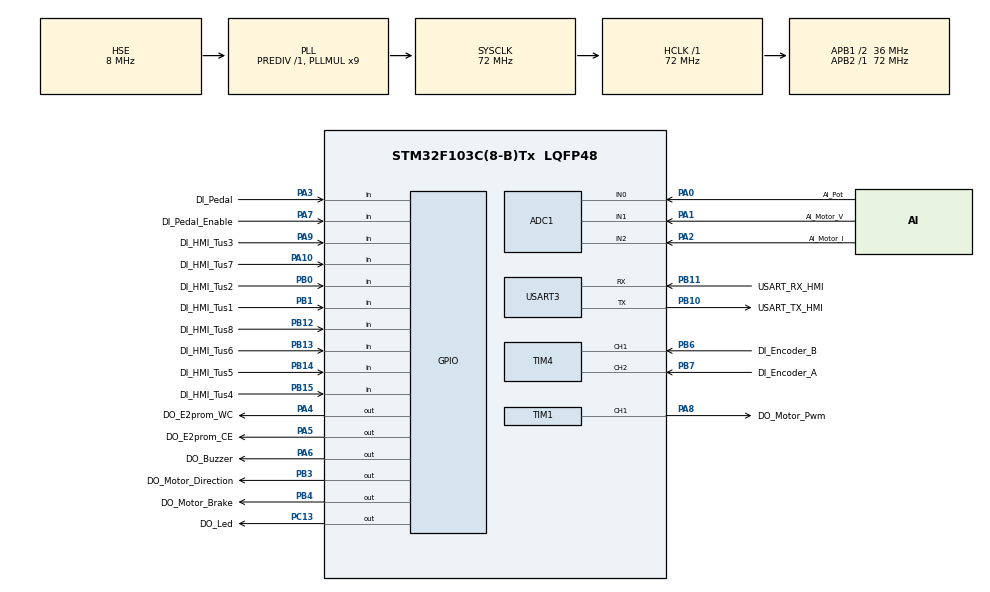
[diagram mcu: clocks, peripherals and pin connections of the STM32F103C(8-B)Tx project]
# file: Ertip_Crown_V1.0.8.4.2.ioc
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ADC1.Channel-6\#ChannelRegularConversion=ADC_CHANNEL_0
ADC1.Channel-7\#ChannelRegularConversion=ADC_CHANNEL_1
ADC1.Channel-8\#ChannelRegularConversion=ADC_CHANNEL_2
ADC1.ContinuousConvMode=ENABLE
ADC1.NbrOfConversion=3
ADC1.NbrOfConversionFlag=1
ADC1.Rank-6\#ChannelRegularConversion=1
ADC1.Rank-7\#ChannelRegularConversion=2
ADC1.Rank-8\#ChannelRegularConversion=3
ADC1.SamplingTime-6\#ChannelRegularConversion=ADC_SAMPLETIME_239CYCLES_5
ADC1.SamplingTime-7\#ChannelRegularConversion=ADC_SAMPLETIME_239CYCLES_5
ADC1.SamplingTime-8\#ChannelRegularConversion=ADC_SAMPLETIME_239CYCLES_5
ADC1.master=1
Dma.ADC1.0.Direction=DMA_PERIPH_TO_MEMORY
Dma.ADC1.0.Instance=DMA1_Channel1
Dma.ADC1.0.MemDataAlignment=DMA_MDATAALIGN_HALFWORD
Dma.ADC1.0.MemInc=DMA_MINC_ENABLE
Dma.ADC1.0.Mode=DMA_NORMAL
Dma.ADC1.0.PeriphDataAlignment=DMA_PDATAALIGN_HALFWORD
Dma.ADC1.0.PeriphInc=DMA_PINC_DISABLE
Dma.ADC1.0.Priority=DMA_PRIORITY_LOW
Dma.Request0=ADC1
Dma.Request1=USART3_RX
Dma.USART3_RX.1.Direction=DMA_PERIPH_TO_MEMORY
Dma.USART3_RX.1.Instance=DMA1_Channel3
Dma.USART3_RX.1.MemDataAlignment=DMA_MDATAALIGN_BYTE
Dma.USART3_RX.1.MemInc=DMA_MINC_ENABLE
Dma.USART3_RX.1.Mode=DMA_NORMAL
Dma.USART3_RX.1.PeriphDataAlignment=DMA_PDATAALIGN_BYTE
Dma.USART3_RX.1.PeriphInc=DMA_PINC_DISABLE
Dma.USART3_RX.1.Priority=DMA_PRIORITY_HIGH
Mcu.Family=STM32F1
Mcu.Name=STM32F103C(8-B)Tx
Mcu.Package=LQFP48
NVIC.DMA1_Channel1_IRQn=true\:10\:0\:true\:false\:true\:false\:true\:true
NVIC.DMA1_Channel3_IRQn=true\:0\:0\:false\:false\:true\:false\:true\:true
NVIC.PriorityGroup=NVIC_PRIORITYGROUP_4
NVIC.TIM2_IRQn=true\:0\:0\:false\:false\:true\:true\:true\:true
NVIC.USART3_IRQn=true\:0\:0\:false\:false\:true\:true\:true\:true
PA0-WKUP.GPIO_Label=AI_Pot
PA0-WKUP.Signal=ADCx_IN0
PA1.GPIO_Label=AI_Motor_V
PA1.Signal=ADCx_IN1
PA10.GPIO_Label=DI_HMI_Tus7
PA10.Signal=GPIO_Input
PA13.GPIO_Label=DIO_Debug_Serial_Wire
PA13.Mode=Serial_Wire
PA13.Signal=SYS_JTMS-SWDIO
PA14.GPIO_Label=CLK_Debug_Serial_Wire
PA14.Mode=Serial_Wire
PA14.Signal=SYS_JTCK-SWCLK
PA2.GPIO_Label=AI_Motor_I
PA2.Signal=ADCx_IN2
PA3.GPIO_Label=DI_Pedal
PA3.GPIO_PuPd=GPIO_PULLUP
PA3.Signal=GPIO_Input
PA4.GPIO_Label=DO_E2prom_WC
PA4.Signal=GPIO_Output
PA5.GPIO_Label=DO_E2prom_CE
PA5.Signal=GPIO_Output
PA6.GPIO_Label=DO_Buzzer
PA6.Signal=GPIO_Output
PA7.GPIO_Label=DI_Pedal_Enable
PA7.GPIO_PuPd=GPIO_PULLUP
PA7.Signal=GPIO_Input
PA8.GPIO_Label=DO_Motor_Pwm
PA8.Signal=S_TIM1_CH1
PA9.GPIO_Label=DI_HMI_Tus3
PA9.Signal=GPIO_Input
PB0.GPIO_Label=DI_HMI_Tus2
PB0.Signal=GPIO_Input
PB1.GPIO_Label=DI_HMI_Tus1
PB1.Signal=GPIO_Input
PB10.GPIO_Label=USART_TX_HMI
PB10.Mode=Asynchronous
PB10.Signal=USART3_TX
PB11.GPIO_Label=USART_RX_HMI
PB11.Mode=Asynchronous
PB11.Signal=USART3_RX
PB12.GPIO_Label=DI_HMI_Tus8
PB12.Signal=GPIO_Input
PB13.GPIO_Label=DI_HMI_Tus6
PB13.Signal=GPIO_Input
PB14.GPIO_Label=DI_HMI_Tus5
PB14.Signal=GPIO_Input
PB15.GPIO_Label=DI_HMI_Tus4
PB15.Signal=GPIO_Input
PB3.GPIO_Label=DO_Motor_Direction
PB3.Signal=GPIO_Output
PB4.GPIO_Label=DO_Motor_Brake
PB4.Signal=GPIO_Output
PB6.GPIO_Label=DI_Encoder_B
PB6.Signal=S_TIM4_CH1
PB7.GPIO_Label=DI_Encoder_A
PB7.Signal=S_TIM4_CH2
PB8.GPIO_Label=I2C_SCL_E2prom
PB8.Signal=I2C1_SCL
PB9.GPIO_Label=I2C_SDA_E2prom
PB9.Signal=I2C1_SDA
PC13-TAMPER-RTC.GPIO_Label=DO_Led
PC13-TAMPER-RTC.Signal=GPIO_Output
PD0-OSC_IN.Mode=HSE-External-Oscillator
PD0-OSC_IN.Signal=RCC_OSC_IN
PD1-OSC_OUT.Mode=HSE-External-Oscillator
PD1-OSC_OUT.Signal=RCC_OSC_OUT
ProjectManager.HeapSize=0x200
ProjectManager.StackSize=0x400
ProjectManager.TargetToolchain=STM32CubeIDE
RCC.ADCPresc=RCC_ADCPCLK2_DIV8
RCC.AHBFreq_Value=72000000
RCC.APB1CLKDivider=RCC_HCLK_DIV2
RCC.APB1Freq_Value=36000000
RCC.APB1TimFreq_Value=72000000
RCC.APB2Freq_Value=72000000
RCC.APB2TimFreq_Value=72000000
RCC.HCLKFreq_Value=72000000
RCC.PLLMUL=RCC_PLL_MUL9
RCC.PLLSourceVirtual=RCC_PLLSOURCE_HSE
RCC.SYSCLKFreq_VALUE=72000000
RCC.SYSCLKSource=RCC_SYSCLKSOURCE_PLLCLK
RCC.USBFreq_Value=72000000
SH.ADCx_IN0.0=ADC1_IN0,IN0
SH.ADCx_IN1.0=ADC1_IN1,IN1
SH.ADCx_IN2.0=ADC1_IN2,IN2
SH.S_TIM1_CH1.0=TIM1_CH1,PWM Generation1 CH1
SH.S_TIM4_CH1.0=TIM4_CH1,Encoder_Interface
SH.S_TIM4_CH2.0=TIM4_CH2,Encoder_Interface
TIM1.Channel-PWM\ Generation1\ CH1=TIM_CHANNEL_1
TIM1.OCPolarity_1=TIM_OCPOLARITY_LOW
TIM1.Period=2399
TIM2.AutoReloadPreload=TIM_AUTORELOAD_PRELOAD_ENABLE
TIM2.Period=4999
TIM2.Prescaler=71
TIM4.EncoderMode=TIM_ENCODERMODE_TI12
TIM4.IC1Polarity=TIM_ICPOLARITY_FALLING
USART3.VirtualMode=VM_ASYNC
VP_TIM2_VS_ClockSourceINT.Mode=Internal
board=custom

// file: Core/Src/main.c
/* USER CODE BEGIN Header */
/**
  ******************************************************************************
  * @file           : main.c
  * @brief          : Main program body
  ******************************************************************************
  * @attention
  *
  * Copyright (c) 2025 STMicroelectronics.
  * All rights reserved.
  *
  * This software is licensed under terms that can be found in the LICENSE file
  * in the root directory of this software component.
  * If no LICENSE file comes with this software, it is provided AS-IS.
  *
  ******************************************************************************
  */
/** 	BCD Teknik ARGE ve Robotik Otomasyon San. Tic. Ltd. Şti.
 	 	İstanbul, 2025

 	 	Bu kod ERTIP firmasının Crown V1.3 model kartı için üretilmiştir.
 	 	STM32F103C8T6 model MCU kullanılmıştır.

 	 	Tim4 Ch1 ve Ch2 combined modda enkoder okumak için kulanılmıştır.
 	 	Enkoder dönüş hızı (rpm), dönüş sayısı (distance_pulse) ve dönüş açısı (derece)
 	 	hesaplanmaktadır.

 	 	- Analog girişler DMA + SCAN MODE ile okunmuştur. Okunan değerlerin manipülasyonu (filtreleme vb.)
 	 	Callback dışında ayrı bir AdcUpdate() fonksiyonu içinde ve farklı interval de yapılmıştır.
 	 	- Callback çalışma frekansı yüksek olduğu için, data manipülasyonu Callback içinde yapıldığında,
 	 	işlemci tüm gücünü DMA Update e harcıyor ve uwTich dahil diğer fonksiyonlar çalışmıyor. Bu nedenle
 	 	hem ADC ranklarının Sampling Time değeri en büyük değer olan 239,5 cycle a çekildi, hem Clock Configuration
 	 	bölümünden ADC1 prescalar değeri en büyük değer olan /8 e ayarlandı (böylece DMA ölçüm frekansı düşürüldü),
 	 	hem de NVIC'ten DMA Interrupt priority si düşürüldü (değer olarak 10 a yükseltildi).
		- TIM1_CH1'den üretilen motor PWM değeri fonksiyonu ters çalışıyordu. Diğer bir ifadeyle __HAL_TIM_SET_COMPARE()
		fonksiyonuna girilen pwmValue değeri yükseldikçe motor devri düşüyordu. Bu sorunu pwmValue değerini max_pwm_periyot
		değerinden çıkararak çözülmüştü. Onun yerine CubeMX > Timers > TIM1 > Configuration > Channel1 içindeki CH polarity
		değerini low yaparak çözdük. Böylelikle her döngüde çıkarma işlemi yapmaktan kurtulduk.
		- main.c dosyası m_IO.c, m_MotorControl.c ve m_Filter.c olarak 3 modüle ayrıldı.
		-- m_IO.c de MCU giriş çıkışları ile ilgili temel fonksiyonlar yazıldı. Bunlar genel olarak DMA ile okunan ham ADC
		verilerinin (pot, motor voltage, motor current) işlenmesi, dijital girişlerin okunması, gijital çıkışların yazılması
		ve PWM üretilmesi olarak sınıflandırılabilir.
		-- m_MotorControl.c de genel olarak komum ve hız kontrol fonksiyonları yazıldı.
		-- m_Filter.c de okunan analog verilerin filtrelenmesi ve ölçeklendirilmesi ile ilgili fonksiyonlar yazıldı.
		- Hız referansı üreten PositionControl() fonksiyonu oluşturuldu. Konum kontrolünde standart Oransal (P) kontrol
		algoritması kullanıldı. Fonksiyon çıkışı hız doyum değerlerine göre (posSatLimitMax) sınırlandırıldı. Fonksiyona
		konum ileri besleme (ffPos) parametresi eklendi.
		- Motorun sürülmesi için gerekli PWM periyodu değerini üreten VelocityControl() fonksiyonu oluşturuldu. Hız kontrolünde
		standart Oransal-İntegral (PI) kontrol algoritması kullanıldı. İntegratör hesabına döngü peryotu (dTs) eklenerek
		Ki katsayısının döngü periyodu değişiminden etkilenmesi önlendi. Aynı zamanda integratöre geri-hesaplamalı antiwindup
		(Back Calculation AntiWindup - BCAW) algoritması eklenerek integral uçması sorunu önlendi. Fonksiyon çıkışı PWM duty cycle
		doyum değerlerine göre (velSatLimitMin, velSatLimitMax) sınırlandırıldı. Burada bahsedilen duty cycle limitleri fonksiyonun
		global olarak diğer uygulamalarla da uyumlu olabilmesi için 0.0f..1.0f aralığında olacak şekilde belirlendi.
		Böylelikle % duty cycle %0.0f..%100.0f aralığına ayarlanmış oldu. Bu düzenleme Kp ve Ki değerlerinin belirlenmesinde de etkili olacak.
		- BCAW interal uçması önleme algoritmasının etkiniğini düzenleyen kAntiWindup katsayısı döngü periyodu (dTs) ile ilişkilendirilerek
		katsayının döngü periyodu değişiminden etkilenmesi önlendi. kAntiWindup katsayısı belirlenirken genellikle ya Ki değerine ya da 1/dTs
		periyodu değerine eşitlenir.
		- Versiyon 1.0.5 ile birlikte değişken isimlendirmesi camel type'tan alt çizgili tipe dönüştürülmüştür.
		- VelocityControl() fonksiyonu içinde normalize edilmiş değerler kullanılmıştır. Böylelikle hız kontrolcü üniversal uyumlu hale getirilmiştir.
		- Versiyon 1.0.5.1 de kontrol döngüsü Timer 2 interrupt içinde yürütülmektedir. Bu yapıyı uygularken bazı sorunlar çıktı. En belirgin olanı referans
		potundan okunan değerlerde negatif anlamsız pikler oluşmaya başladı. Bunun interrupt çakışmasından kaynaklanabileceği belirtildi. Bu sorun ile uğraşmayı
		şimdilik bıraktım fakat ileride bakacağım.
		- Versiyon 1.0.6.1 de temel olarak seri haberleşmeyi de sisteme ekledim. VelocityControl() döngüsünü friction compansation ve deadband kontrolleri ile daha stabil
		hale getirdim. Belirli hız referansının altında motor hareket etmezken durduğu yerde ısınmasını önlemek için friction compansation etkisini koşulu hale getirdim.
		Böylece vel_ref belirli bir değerin altındaysa friction compansation kanıyor. PID ayarlarını düzelttim.PID kontrol kısmını normalize ettim. Önceleri Kp=15..20 civarı
		gezinirken şimdi Kp=1 civarı. Benzer şekilde Ki=20..30 civarı gezinirken şimdi Ki=0.1 civarında. TrajectoryGenerator() fonksiyonunu 2 farklı versiyon olarak
		yeniden düzenledim. Mutlak (absolute) hareket için TrajectoryGeneratorAbs() ve göreli (relative) hareket için TrajectoryGeneratorRel()oluşturdum.
		Versiyon 1.6.0 absolute olarak kaldı, artık relative'den devam ediyorum. Trajectory generator içerisine POS_DEADBAND ve VEL_DEADBAND parametreleri ekleyerek
		düşük hızlardki kararsız durumların önüne geçtim.
		- Versiyon 1.0.7'de temel olarak shared memory benzeri bir yapıya geçtim. Modüller arasında veri transferi için m_SharedMemory.c isminde yeni bir modül oluşturdum.
		Ayrıca Appconfig.h oluşturarak tüm #define ları içerisine attım. Böylelikl yazılımla ilgili tüm parametreler bir yerde toplanmış oldu. Fakat hız kontrol döngüsünde
		sorun yaşadım sorunun kaynağını bulamadım. Bu nedenle Velocitycontrol() fonksiyonunun stabil çalıştığı 1.5.1'e geri döndüm.
		- Versiyon 1.0.7.1'de 1.0.5.1'i temel aldım. Enkoder verisini doğru okuyabilen en güncel versiyonun bu olduğunu fark ettim.
		V1.0.7.1'i de yedek olarak tutarak V1.0.7.2'ye yükselttim. Bu versiyonda dikkatli olarak sırasıyla SharedMemory ve AppConfig
		yaklaşımlarını entegre edeceğim. Sonrasında hız ve konum kontrol döngülerindeki değişiklikleri aktaracağım. En son da seri haberleşme fonksiyonlarını ekleyeceğim.
		Sonrasında da VelTraGen ve PosTraGen fonksiyonlarının ayarlarını yapacağım.
		- Versiyon 1.0.8'e seri haberleşme eklendi. ERTIP_Crown_V1.3_Haberleşme_Protokolü_V1.1'e göre cevap mesajları gönderilir oldu. TrajectoryGeneratorVel() içindeki
		static float ramped_ref_rpm değişkeni globale taşınarak hız referansı değişimindeki sıfırlama hatası düzeltildi. Oscillation Mode da seri iletişimde donma oluyor.
		Ayrıca motor elle tutulduğunda aşırı salınıma giriyor.
		- Versiyon 1.0.8.1 e clamp fonksiyonu oluştur ve VelocityControl() içindeki antiwindup çıkışına da clamp ekle. Hız ve konum TraGen içindeki ivmelenme değerlerini
		seri haberleşme ile değiştirilebilir yap.

 	 	Dr. Barış DOĞAN
 */

/* USER CODE END Header */
#include "main.h"

/* USER CODE BEGIN Includes */
#include <stdio.h>
#include <string.h>
#include "m_SharedMemory.h"
#include "m_IO.h"
#include "m_MotorControl.h"
#include "m_Filter.h"
#include "m_SerialComm.h"
#include "AppConfig.h"

/* USER CODE END Includes */

/* USER CODE BEGIN PTD */

extern TIM_HandleTypeDef htim1;		// PWM timer (TIM1)
extern TIM_HandleTypeDef htim2;		// Control Loop timer (TIM2)
extern TIM_HandleTypeDef htim4;		// Encoder Handle timer (TIM4)

/* USER CODE END PTD */

ADC_HandleTypeDef hadc1;
DMA_HandleTypeDef hdma_adc1;

TIM_HandleTypeDef htim1;
TIM_HandleTypeDef htim2;
TIM_HandleTypeDef htim4;

UART_HandleTypeDef huart3;
DMA_HandleTypeDef hdma_usart3_rx;

void SystemClock_Config(void);
static void MX_GPIO_Init(void);
static void MX_DMA_Init(void);
static void MX_TIM1_Init(void);
static void MX_TIM4_Init(void);
static void MX_ADC1_Init(void);
static void MX_TIM2_Init(void);
static void MX_USART3_UART_Init(void);
/* USER CODE BEGIN PFP */

void SendSerialData(uint8_t *buffer);

//uint8_t rx_byte = 0u;		// Seri haberleşmeden gelen byte
ProgramState_t operation_state;

/* USER CODE END PFP */

/* USER CODE BEGIN 0 */

/**
 * @brief  Period elapsed callback in non-blocking mode.
 *
 * Called when the specified timer reaches its period and generates an interrupt.
 * For TIM2, this executes the hard real-time control loop tasks, including
 * reading ADC values, updating the encoder, and running the motor control task.
 *
 * @param  htim Pointer to a TIM_HandleTypeDef structure that contains
 *              the configuration information for the specified TIM module.
 * @retval None
 */
void HAL_TIM_PeriodElapsedCallback(TIM_HandleTypeDef *htim)
{
    if (htim == &htim2)
    {
        HAL_GPIO_WritePin(DO_Led_GPIO_Port, DO_Led_Pin, 1u);
        UpdateAdcFromDmaTask();
        UpdateEncoderTask();
        MotorControlTask();
        HAL_GPIO_WritePin(DO_Led_GPIO_Port, DO_Led_Pin, 0u);
    }
}

/**
 * @brief Safely sends a buffer of data over UART3 without blocking forever.
 *
 * Implements a non-blocking or timeout-limited method to transmit data over
 * the serial connection. This ensures the main loop isn't stalled if the
 * communication hardware fails.
 *
 * @param buffer Pointer to the null-terminated string/data to be sent.
 * @retval None
 */
void SendSerialData(uint8_t *buffer)
{
    if (buffer == NULL) return;
    uint16_t len = strlen((char*)buffer);
    // 10ms timeout sayesinde cihaz donanımsal arıza olsa bile ASLA çökmez/kilitlenmez!
    HAL_UART_Transmit(&huart3, buffer, len, 10);
}

/* USER CODE END 0 */

int main(void)
{

  /* MCU Configuration--------------------------------------------------------*/

  /* Reset of all peripherals, Initializes the Flash interface and the Systick. */
  HAL_Init();

  /* Configure the system clock */
  SystemClock_Config();

  /* USER CODE BEGIN SysInit */

  // *** TEST: SysTick'i doğrudan configure et ***

  /* USER CODE END SysInit */

  /* Initialize all configured peripherals */
  MX_GPIO_Init();
  MX_DMA_Init();
  MX_TIM1_Init();
  MX_TIM4_Init();
  MX_ADC1_Init();
  MX_TIM2_Init();
  MX_USART3_UART_Init();
  /* USER CODE BEGIN 2 */

  // ADC ve DMA başlatma işlemleri
  InitAdc();

  // TIM1: PWM CH1 başlat (PA8)
  InitTim1();

  // TIM2: Control Loop
  InitTim2();

  // TIM4: Enkoder sayacı timer'ını başlat
  InitTim4();

  // *** UART'I TIM2'DEN DAHA ÖNCELİKLİ HALE GETİR (Overrun Çözümü) ***
    HAL_NVIC_SetPriority(USART3_IRQn, 0, 0); // En yüksek öncelik
    HAL_NVIC_SetPriority(TIM2_IRQn, 2, 0);   // Daha düşük öncelik

  InitSerialComm();

  SharedMemoryInit();
  LoadParamsFromFlash(); // YENİ: Açılışta kalıcı hafızadan PID ve Osilasyon ayarlarını çeker

  InitControlVel();

  uint32_t serial_comm_loop_ms = HAL_GetTick();
  uint32_t state_loop_ms = HAL_GetTick();
  uint32_t io_loop_ms = HAL_GetTick();
  uint32_t led_loop_ms = HAL_GetTick();

  operation_state = OP_STATE_IDLE;
  uint32_t time_counter = 0u;

  char boot_msg[] = "\n[STM32] SISTEM BASARIYLA BASLATILDI!\n";
    HAL_UART_Transmit(&huart3, (uint8_t*)boot_msg, strlen(boot_msg), 100);

  /* USER CODE END 2 */

  /* Infinite loop */
  while (1)
  {

    /* USER CODE BEGIN 3 */
	  	  uint32_t now_ms = HAL_GetTick();

	  	// --- YENİ: OTONOM DONANIMSAL PEDAL KONTROLÜ (ACTIVE-LOW) ---
	  	      static uint8_t last_pedal_state = 1; // Başlangıçta pedal çekili (1) varsayılır
	  	      uint8_t current_pedal_state = HAL_GPIO_ReadPin(DI_Pedal_GPIO_Port, DI_Pedal_Pin);

	  	      // 1. DURUM: Pedal BASILDI (1'den 0'a Düştü - Düşen Kenar)
	  	      if (current_pedal_state == 0 && last_pedal_state == 1) {
	  	          if (sm.act_motor_state == MOT_STATE_IDLE) {
	  	              // Son kullanılan moda göre motoru şahlandır!
	  	              if (sm.last_active_mode == 1) {
	  	                  sm.act_motor_state = MOT_STATE_VEL_CONTROL_INIT;
	  	              } else if (sm.last_active_mode == 2) {
	  	                  sm.act_motor_state = MOT_STATE_POS_CONTROL_INIT;
	  	              } else if (sm.last_active_mode == 3) {
	  	                  sm.act_motor_state = MOT_STATE_TIME_OSC_CONTROL_INIT;
	  	              }
	  	              // Node.js backend'ine bilgi ver
	  	              SendSerialData((uint8_t*)"<EVT:PEDAL,1>\n");
	  	          }
	  	      }
	  	    // 2. DURUM: Pedal ÇEKİLDİ (0'dan 1'e Çıktı - Yükselen Kenar)
	  	          else if (current_pedal_state == 1 && last_pedal_state == 0) {
	  	              // Motoru acil olarak güvenli durdurma moduna al
	  	              sm.act_motor_state = MOT_STATE_IDLE;

	  	              // DİKKAT: sm.ref_velocity = 0.0f; SATIRINI SİLDİK!
	  	              // (Tekrar basıldığında eski hızı hatırlaması için)

	  	              sm.current_traj_rpm = 0.0f;
	  	              InitControlVel();
	  	              DriveMotor(0.0f, 1u, 1u);

	  	              SendSerialData((uint8_t*)"<EVT:PEDAL,0>\n");
	  	          }

	  	      last_pedal_state = current_pedal_state; // Durumu güncelle

	        // *** YENİ: KİLİTLENEN UART'I KURTARICI ***
	        // Eğer kesme içinde başlatılamayan bir dinleme varsa, ana döngüde yeniden dene!
	        if (rx_needs_restart)
	        {
	            if (HAL_UART_Receive_IT(&huart3, &rx_byte, 1) == HAL_OK) {
	                rx_needs_restart = 0u; // Başarıyla kurtarıldı!
	            }
	        }

	        // *** KRİTİK BLOK KORUMASI (Data Race Önlemi) ***
	        if(rx_data_ready)
	        {
	            __disable_irq();             // Tüm kesmeleri (TIM2 dahil) kısa süreliğine DURDUR
	            ProcessBinaryPacket();     // Verileri güvenle ve bölünmeden güncelle
	            __enable_irq();              // Kesmeleri tekrar AÇ

     	      rx_data_ready = 0u;
	        }

	  	// *** MEDİKAL GÜVENLİK KİLİDİ (WATCHDOG) ***
	  	   // Eğer motor boşta değilse VE son geçerli komuttan bu yana 1000ms (1 saniye) geçtiyse
	  	      if (sm.act_motor_state != MOT_STATE_IDLE)
	  	      {
	  	          // DÜZELTME: now_ms yerine doğrudan o anki HAL_GetTick() değerini kullanıyoruz (Underflow Önlemi)
	  	          if ((HAL_GetTick() - sm.last_valid_comm_time) > 1000u)
	  	          {
	  	              // İletişim koptu! Motoru derhal durdur.
	  	              sm.act_motor_state = MOT_STATE_IDLE;
	  	              sm.ref_velocity = 0.0f;
	  	              sm.current_traj_rpm = 0.0f;
	  	              InitControlVel();
	  	              DriveMotor(0.0f, 1u, 1u);

	  	              SendSerialData((uint8_t*)"<DBG: WATCHDOG_EMERGENCY_STOP>\n");
	  	          }
	  	      }

	  if ((now_ms - serial_comm_loop_ms) >= 50u)
	        {
	            // ESKİ HALİ: serial_comm_loop_ms += 50u;
	            // YENİ HALİ: İşlemci gecikse bile SPAM yapmasını önler!
	            serial_comm_loop_ms = now_ms;

	            snprintf((char*)tx_buffer, TX_BUFFER_SIZE, "<TEL,%.0f,%.1f,%.2f,%.2f>\n",
	                     sm.act_velocity, sm.act_position, sm.act_pwm_duty, sm.act_motor_current);
	            SendSerialData(tx_buffer);
	        }

	  // *** BEGIN: State Loop
	  if ((now_ms - state_loop_ms) >= STATE_LOOP_PERIOD_MS)
	  {
		  state_loop_ms += STATE_LOOP_PERIOD_MS;

		  //HAL_GPIO_WritePin(DO_Led_GPIO_Port, DO_Led_Pin, 1);

		  switch(operation_state)
		  {
		  	  case OP_STATE_IDLE:	// idle
		  	  {
		  		if((sm.pedal_active && !sm.pedal_state) || sm.operation_start)
		  		{
		  			sm.operation_start = 0u;
		  			if(sm.control_mode == 0)
		  			{
		  				operation_state = OP_STATE_CONT_MODE_INIT;				// Trigger CONTINUOUS mode
		  			}
		  			else if(sm.control_mode == 1)
		  			{
		  				operation_state = OP_STATE_OSC_MODE_VEL_CONTROL_INIT;	// Trigger OSCILLATION mode
		  			}
		  			else
		  			{
		  				operation_state = OP_STATE_MAN_MODE;					// Trigger MANUAL mode
		  			}
		  		}
		  	  } break;

		  	  case OP_STATE_CONT_MODE_INIT:	// CONTINUOUS Mode 1) Trigger Velocity Control
		  	  {
		  		  sm.act_motor_state = MOT_STATE_VEL_CONTROL_INIT;
		  		  operation_state = OP_STATE_CONT_MODE;
		  	  } break;

		  	  case OP_STATE_CONT_MODE:	// CONTINUOUS Mode 2) Velocity Control
		  	  {
		  		  if(sm.act_motor_state == MOT_STATE_VEL_CONTROL)		// Hız kontrol döngüsü başlamışsa...
		  		  {
		  			  if((sm.pedal_active && sm.pedal_state) || sm.operation_stop)	// Pedal kullanımı aktifse ve pedal bırakılmışsa veya Durdur butonuna basılmışsa...
		  			  {
		  				  sm.operation_stop = 0u;	// Durdur işlemini resetle.
		  				  sm.act_motor_state = MOT_STATE_VEL_CONTROL_END;
		  				  operation_state = OP_STATE_CONT_MODE_END;		// Motor durdur.
		  			  }
		  		  }
		  	  } break;

		  	  case OP_STATE_CONT_MODE_END:	// CONTINUOUS Mode 3) End Velocity Control
		  	  {
  				  if(sm.act_motor_state == MOT_STATE_IDLE)
  				  {
  					  operation_state = OP_STATE_IDLE;
  				  }
		  	  } break;

		  	  case OP_STATE_OSC_MODE_VEL_CONTROL_INIT:	// OSCILLATION Mode 1) Trigger Velocity Control
		  	  {
		  		  time_counter = 0u;									// TIME gecikmesi için sayaç sıfırlanır.
		  		  sm.act_motor_state = MOT_STATE_VEL_CONTROL_INIT;		// Hız kontrol döngüsü başlatılır.
		  		  operation_state = OP_STATE_OSC_MODE_VEL_CONTROL;
		  	  } break;

		  	  case OP_STATE_OSC_MODE_VEL_CONTROL:	// OSCILLATION Mode 2) Velocity Control
		  	  {
		  		  if(sm.act_motor_state == MOT_STATE_VEL_CONTROL)		// Hız kontrol döngüsü başlamışsa...
		  		  {
		  			  time_counter += STATE_LOOP_PERIOD_MS;			// Oscillation Mode başında hız döngüsünü çalışma süresini belirleyen sayaç
		  			  if(time_counter >= sm.time_delay)				// Sayaç değeri arayüzden belirlenen TIME değerine ulaşmışsa...
		  			  {
		  				  time_counter = 0u;								// Sayaç sıfırlanır.
				  		  sm.act_motor_state = MOT_STATE_VEL_CONTROL_END;
		  				  operation_state = OP_STATE_OSC_MODE_VEL_CONTROL_END;
		  			  }
		  		  }
		  	  } break;

		  	  case OP_STATE_OSC_MODE_VEL_CONTROL_END:	// OSCILLATION Mode 3) End Velocity Control
		  	  {
  				  if(sm.act_motor_state == MOT_STATE_IDLE)
  				  {
  					  operation_state = OP_STATE_OSC_MODE_POS_CONTROL_INIT;
  				  }
		  	  } break;

		  	  case OP_STATE_OSC_MODE_POS_CONTROL_INIT:	// OSCILLATION Mode 4) Trigger Position Control
		  	  {
		  		  sm.act_motor_state = MOT_STATE_POS_CONTROL_INIT;		// Konum kontrol döngüsü başlatılır.
		  		  operation_state = OP_STATE_OSC_MODE_POS_CONTROL;
		  	  } break;

		  	  case OP_STATE_OSC_MODE_POS_CONTROL:	// OSCILLATION Mode 5) Position Control
		  	  {
		  		  if(sm.act_motor_state == MOT_STATE_POS_CONTROL)		// Konum kontrol döngüsü başlamış mı kontrol edilir.
		  		  {
		  			  if((sm.pedal_active && sm.pedal_state) || sm.operation_stop)	// Pedal kullanımı aktifse ve pedal bırakılmışsa veya Durdur butonuna basılmışsa...
		  			  {
		  				  sm.operation_stop = 0u;	// Durdur işlemini resetle.
				  		  sm.act_motor_state = MOT_STATE_POS_CONTROL_END;
		  				  operation_state = OP_STATE_OSC_MODE_POS_CONTROL_END;		// Motor durdur.
		  			  }
		  		  }
		  	  } break;

		  	  case OP_STATE_OSC_MODE_POS_CONTROL_END:	// OSCILLATION Mode 6) End Position Control
		  	  {
  				  if(sm.act_motor_state == MOT_STATE_IDLE)
  				  {
  					  operation_state = OP_STATE_IDLE;
  				  }
		  	  } break;

		  	  case OP_STATE_MAN_MODE:	// MANUAL Mode
		  	  {
		  		  sm.act_motor_state = MOT_STATE_MANUAL_CONTROL;
	  			  if(sm.operation_stop)			// Durdur butonuna basılmışsa...
	  			  {
	  				  sm.operation_stop = 0u;	// Durdur işlemini resetle.
	  				  sm.act_motor_state = MOT_STATE_IDLE;
	  				  operation_state = OP_STATE_IDLE;
	  			  }
		  	  } break;

		  }

		  //HAL_GPIO_WritePin(DO_Led_GPIO_Port, DO_Led_Pin, 0);

	  }
	  // *** END: State Loop

	  // *** BEGIN: Led Blink Loop
	  if ((now_ms - led_loop_ms) >= LED_LOOP_PERIOD_MS)
	  {
		  led_loop_ms += LED_LOOP_PERIOD_MS;
		  //HAL_GPIO_TogglePin(DO_Led_GPIO_Port, DO_Led_Pin);
	  }
	  // *** END: Led Blink Loop

	  // *** BEGIN: Scan IO Loop
	  if ((now_ms - io_loop_ms) >= IO_LOOP_PERIOD_MS)
	  {
		  io_loop_ms += IO_LOOP_PERIOD_MS;
		  //ScanIO_Task();
		  sm.pedal_state = HAL_GPIO_ReadPin(DI_Pedal_GPIO_Port, DI_Pedal_Pin);
		  //sm.pedal_active = HAL_GPIO_ReadPin(DI_Pedal_Enable_GPIO_Port, DI_Pedal_Enable_Pin);

	  }
	  // *** END: Scan IO Loop

  }
  /* USER CODE END 3 */
}

void SystemClock_Config(void)
{
  RCC_OscInitTypeDef RCC_OscInitStruct = {0};
  RCC_ClkInitTypeDef RCC_ClkInitStruct = {0};
  RCC_PeriphCLKInitTypeDef PeriphClkInit = {0};

  /** Initializes the RCC Oscillators according to the specified parameters
  * in the RCC_OscInitTypeDef structure.
  */
  RCC_OscInitStruct.OscillatorType = RCC_OSCILLATORTYPE_HSE;
  RCC_OscInitStruct.HSEState = RCC_HSE_ON;
  RCC_OscInitStruct.HSEPredivValue = RCC_HSE_PREDIV_DIV1;
  RCC_OscInitStruct.HSIState = RCC_HSI_ON;
  RCC_OscInitStruct.PLL.PLLState = RCC_PLL_ON;
  RCC_OscInitStruct.PLL.PLLSource = RCC_PLLSOURCE_HSE;
  RCC_OscInitStruct.PLL.PLLMUL = RCC_PLL_MUL9;
  if (HAL_RCC_OscConfig(&RCC_OscInitStruct) != HAL_OK)
  {
    Error_Handler();
  }

  /** Initializes the CPU, AHB and APB buses clocks
  */
  RCC_ClkInitStruct.ClockType = RCC_CLOCKTYPE_HCLK|RCC_CLOCKTYPE_SYSCLK
                              |RCC_CLOCKTYPE_PCLK1|RCC_CLOCKTYPE_PCLK2;
  RCC_ClkInitStruct.SYSCLKSource = RCC_SYSCLKSOURCE_PLLCLK;
  RCC_ClkInitStruct.AHBCLKDivider = RCC_SYSCLK_DIV1;
  RCC_ClkInitStruct.APB1CLKDivider = RCC_HCLK_DIV2;
  RCC_ClkInitStruct.APB2CLKDivider = RCC_HCLK_DIV1;

  if (HAL_RCC_ClockConfig(&RCC_ClkInitStruct, FLASH_LATENCY_2) != HAL_OK)
  {
    Error_Handler();
  }
  PeriphClkInit.PeriphClockSelection = RCC_PERIPHCLK_ADC;
  PeriphClkInit.AdcClockSelection = RCC_ADCPCLK2_DIV8;
  if (HAL_RCCEx_PeriphCLKConfig(&PeriphClkInit) != HAL_OK)
  {
    Error_Handler();
  }
}

static void MX_ADC1_Init(void)
{

  ADC_ChannelConfTypeDef sConfig = {0};

  /** Common config
  */
  hadc1.Instance = ADC1;
  hadc1.Init.ScanConvMode = ADC_SCAN_ENABLE;
  hadc1.Init.ContinuousConvMode = ENABLE;
  hadc1.Init.DiscontinuousConvMode = DISABLE;
  hadc1.Init.ExternalTrigConv = ADC_SOFTWARE_START;
  hadc1.Init.DataAlign = ADC_DATAALIGN_RIGHT;
  hadc1.Init.NbrOfConversion = 3;
  if (HAL_ADC_Init(&hadc1) != HAL_OK)
  {
    Error_Handler();
  }

  /** Configure Regular Channel
  */
  sConfig.Channel = ADC_CHANNEL_0;
  sConfig.Rank = ADC_REGULAR_RANK_1;
  sConfig.SamplingTime = ADC_SAMPLETIME_239CYCLES_5;
  if (HAL_ADC_ConfigChannel(&hadc1, &sConfig) != HAL_OK)
  {
    Error_Handler();
  }

  /** Configure Regular Channel
  */
  sConfig.Channel = ADC_CHANNEL_1;
  sConfig.Rank = ADC_REGULAR_RANK_2;
  if (HAL_ADC_ConfigChannel(&hadc1, &sConfig) != HAL_OK)
  {
    Error_Handler();
  }

  /** Configure Regular Channel
  */
  sConfig.Channel = ADC_CHANNEL_2;
  sConfig.Rank = ADC_REGULAR_RANK_3;
  if (HAL_ADC_ConfigChannel(&hadc1, &sConfig) != HAL_OK)
  {
    Error_Handler();
  }

}

static void MX_TIM1_Init(void)
{

  TIM_MasterConfigTypeDef sMasterConfig = {0};
  TIM_OC_InitTypeDef sConfigOC = {0};
  TIM_BreakDeadTimeConfigTypeDef sBreakDeadTimeConfig = {0};

  htim1.Instance = TIM1;
  htim1.Init.Prescaler = 0;
  htim1.Init.CounterMode = TIM_COUNTERMODE_UP;
  htim1.Init.Period = 2399;
  htim1.Init.ClockDivision = TIM_CLOCKDIVISION_DIV1;
  htim1.Init.RepetitionCounter = 0;
  htim1.Init.AutoReloadPreload = TIM_AUTORELOAD_PRELOAD_DISABLE;
  if (HAL_TIM_PWM_Init(&htim1) != HAL_OK)
  {
    Error_Handler();
  }
  sMasterConfig.MasterOutputTrigger = TIM_TRGO_RESET;
  sMasterConfig.MasterSlaveMode = TIM_MASTERSLAVEMODE_DISABLE;
  if (HAL_TIMEx_MasterConfigSynchronization(&htim1, &sMasterConfig) != HAL_OK)
  {
    Error_Handler();
  }
  sConfigOC.OCMode = TIM_OCMODE_PWM1;
  sConfigOC.Pulse = 0;
  sConfigOC.OCPolarity = TIM_OCPOLARITY_LOW;
  sConfigOC.OCNPolarity = TIM_OCNPOLARITY_HIGH;
  sConfigOC.OCFastMode = TIM_OCFAST_DISABLE;
  sConfigOC.OCIdleState = TIM_OCIDLESTATE_RESET;
  sConfigOC.OCNIdleState = TIM_OCNIDLESTATE_RESET;
  if (HAL_TIM_PWM_ConfigChannel(&htim1, &sConfigOC, TIM_CHANNEL_1) != HAL_OK)
  {
    Error_Handler();
  }
  sBreakDeadTimeConfig.OffStateRunMode = TIM_OSSR_DISABLE;
  sBreakDeadTimeConfig.OffStateIDLEMode = TIM_OSSI_DISABLE;
  sBreakDeadTimeConfig.LockLevel = TIM_LOCKLEVEL_OFF;
  sBreakDeadTimeConfig.DeadTime = 0;
  sBreakDeadTimeConfig.BreakState = TIM_BREAK_DISABLE;
  sBreakDeadTimeConfig.BreakPolarity = TIM_BREAKPOLARITY_HIGH;
  sBreakDeadTimeConfig.AutomaticOutput = TIM_AUTOMATICOUTPUT_DISABLE;
  if (HAL_TIMEx_ConfigBreakDeadTime(&htim1, &sBreakDeadTimeConfig) != HAL_OK)
  {
    Error_Handler();
  }
  HAL_TIM_MspPostInit(&htim1);

}

static void MX_TIM2_Init(void)
{

  TIM_ClockConfigTypeDef sClockSourceConfig = {0};
  TIM_MasterConfigTypeDef sMasterConfig = {0};

  htim2.Instance = TIM2;
  htim2.Init.Prescaler = 71;
  htim2.Init.CounterMode = TIM_COUNTERMODE_UP;
  htim2.Init.Period = 4999;
  htim2.Init.ClockDivision = TIM_CLOCKDIVISION_DIV1;
  htim2.Init.AutoReloadPreload = TIM_AUTORELOAD_PRELOAD_ENABLE;
  if (HAL_TIM_Base_Init(&htim2) != HAL_OK)
  {
    Error_Handler();
  }
  sClockSourceConfig.ClockSource = TIM_CLOCKSOURCE_INTERNAL;
  if (HAL_TIM_ConfigClockSource(&htim2, &sClockSourceConfig) != HAL_OK)
  {
    Error_Handler();
  }
  sMasterConfig.MasterOutputTrigger = TIM_TRGO_RESET;
  sMasterConfig.MasterSlaveMode = TIM_MASTERSLAVEMODE_DISABLE;
  if (HAL_TIMEx_MasterConfigSynchronization(&htim2, &sMasterConfig) != HAL_OK)
  {
    Error_Handler();
  }

}

static void MX_TIM4_Init(void)
{

  TIM_Encoder_InitTypeDef sConfig = {0};
  TIM_MasterConfigTypeDef sMasterConfig = {0};

  htim4.Instance = TIM4;
  htim4.Init.Prescaler = 0;
  htim4.Init.CounterMode = TIM_COUNTERMODE_UP;
  htim4.Init.Period = 65535;
  htim4.Init.ClockDivision = TIM_CLOCKDIVISION_DIV1;
  htim4.Init.AutoReloadPreload = TIM_AUTORELOAD_PRELOAD_DISABLE;
  sConfig.EncoderMode = TIM_ENCODERMODE_TI12;
  sConfig.IC1Polarity = TIM_ICPOLARITY_FALLING;
  sConfig.IC1Selection = TIM_ICSELECTION_DIRECTTI;
  sConfig.IC1Prescaler = TIM_ICPSC_DIV1;
  sConfig.IC1Filter = 0;
  sConfig.IC2Polarity = TIM_ICPOLARITY_RISING;
  sConfig.IC2Selection = TIM_ICSELECTION_DIRECTTI;
  sConfig.IC2Prescaler = TIM_ICPSC_DIV1;
  sConfig.IC2Filter = 0;
  if (HAL_TIM_Encoder_Init(&htim4, &sConfig) != HAL_OK)
  {
    Error_Handler();
  }
  sMasterConfig.MasterOutputTrigger = TIM_TRGO_RESET;
  sMasterConfig.MasterSlaveMode = TIM_MASTERSLAVEMODE_DISABLE;
  if (HAL_TIMEx_MasterConfigSynchronization(&htim4, &sMasterConfig) != HAL_OK)
  {
    Error_Handler();
  }

}

static void MX_USART3_UART_Init(void)
{

  huart3.Instance = USART3;
  huart3.Init.BaudRate = 115200;
  huart3.Init.WordLength = UART_WORDLENGTH_8B;
  huart3.Init.StopBits = UART_STOPBITS_1;
  huart3.Init.Parity = UART_PARITY_NONE;
  huart3.Init.Mode = UART_MODE_TX_RX;
  huart3.Init.HwFlowCtl = UART_HWCONTROL_NONE;
  huart3.Init.OverSampling = UART_OVERSAMPLING_16;
  if (HAL_UART_Init(&huart3) != HAL_OK)
  {
    Error_Handler();
  }

}

static void MX_DMA_Init(void)
{

  /* DMA controller clock enable */
  __HAL_RCC_DMA1_CLK_ENABLE();

  /* DMA interrupt init */
  /* DMA1_Channel1_IRQn interrupt configuration */
  HAL_NVIC_SetPriority(DMA1_Channel1_IRQn, 10, 0);
  HAL_NVIC_EnableIRQ(DMA1_Channel1_IRQn);
  /* DMA1_Channel3_IRQn interrupt configuration */
  HAL_NVIC_SetPriority(DMA1_Channel3_IRQn, 0, 0);
  HAL_NVIC_EnableIRQ(DMA1_Channel3_IRQn);

}

static void MX_GPIO_Init(void)
{
  GPIO_InitTypeDef GPIO_InitStruct = {0};

  /* GPIO Ports Clock Enable */
  __HAL_RCC_GPIOC_CLK_ENABLE();
  __HAL_RCC_GPIOD_CLK_ENABLE();
  __HAL_RCC_GPIOA_CLK_ENABLE();
  __HAL_RCC_GPIOB_CLK_ENABLE();

  /*Configure GPIO pin Output Level */
  HAL_GPIO_WritePin(DO_Led_GPIO_Port, DO_Led_Pin, GPIO_PIN_RESET);

  /*Configure GPIO pin Output Level */
  HAL_GPIO_WritePin(GPIOA, DO_E2prom_WC_Pin|DO_E2prom_CE_Pin|DO_Buzzer_Pin, GPIO_PIN_RESET);

  /*Configure GPIO pin Output Level */
  HAL_GPIO_WritePin(GPIOB, DO_Motor_Direction_Pin|DO_Motor_Brake_Pin, GPIO_PIN_RESET);

  /*Configure GPIO pin : DO_Led_Pin */
  GPIO_InitStruct.Pin = DO_Led_Pin;
  GPIO_InitStruct.Mode = GPIO_MODE_OUTPUT_PP;
  GPIO_InitStruct.Pull = GPIO_NOPULL;
  GPIO_InitStruct.Speed = GPIO_SPEED_FREQ_LOW;
  HAL_GPIO_Init(DO_Led_GPIO_Port, &GPIO_InitStruct);

  /*Configure GPIO pins : DI_Pedal_Pin DI_Pedal_Enable_Pin */
  GPIO_InitStruct.Pin = DI_Pedal_Pin|DI_Pedal_Enable_Pin;
  GPIO_InitStruct.Mode = GPIO_MODE_INPUT;
  GPIO_InitStruct.Pull = GPIO_PULLUP;
  HAL_GPIO_Init(GPIOA, &GPIO_InitStruct);

  /*Configure GPIO pins : DO_E2prom_WC_Pin DO_E2prom_CE_Pin DO_Buzzer_Pin */
  GPIO_InitStruct.Pin = DO_E2prom_WC_Pin|DO_E2prom_CE_Pin|DO_Buzzer_Pin;
  GPIO_InitStruct.Mode = GPIO_MODE_OUTPUT_PP;
  GPIO_InitStruct.Pull = GPIO_NOPULL;
  GPIO_InitStruct.Speed = GPIO_SPEED_FREQ_LOW;
  HAL_GPIO_Init(GPIOA, &GPIO_InitStruct);

  /*Configure GPIO pins : DI_HMI_Tus2_Pin DI_HMI_Tus1_Pin DI_HMI_Tus8_Pin DI_HMI_Tus6_Pin
                           DI_HMI_Tus5_Pin DI_HMI_Tus4_Pin */
  GPIO_InitStruct.Pin = DI_HMI_Tus2_Pin|DI_HMI_Tus1_Pin|DI_HMI_Tus8_Pin|DI_HMI_Tus6_Pin
                          |DI_HMI_Tus5_Pin|DI_HMI_Tus4_Pin;
  GPIO_InitStruct.Mode = GPIO_MODE_INPUT;
  GPIO_InitStruct.Pull = GPIO_NOPULL;
  HAL_GPIO_Init(GPIOB, &GPIO_InitStruct);

  /*Configure GPIO pins : DI_HMI_Tus3_Pin DI_HMI_Tus7_Pin */
  GPIO_InitStruct.Pin = DI_HMI_Tus3_Pin|DI_HMI_Tus7_Pin;
  GPIO_InitStruct.Mode = GPIO_MODE_INPUT;
  GPIO_InitStruct.Pull = GPIO_NOPULL;
  HAL_GPIO_Init(GPIOA, &GPIO_InitStruct);

  /*Configure GPIO pins : DO_Motor_Direction_Pin DO_Motor_Brake_Pin */
  GPIO_InitStruct.Pin = DO_Motor_Direction_Pin|DO_Motor_Brake_Pin;
  GPIO_InitStruct.Mode = GPIO_MODE_OUTPUT_PP;
  GPIO_InitStruct.Pull = GPIO_NOPULL;
  GPIO_InitStruct.Speed = GPIO_SPEED_FREQ_LOW;
  HAL_GPIO_Init(GPIOB, &GPIO_InitStruct);

  /*Configure GPIO pins : I2C_SCL_E2prom_Pin I2C_SDA_E2prom_Pin */
  GPIO_InitStruct.Pin = I2C_SCL_E2prom_Pin|I2C_SDA_E2prom_Pin;
  GPIO_InitStruct.Mode = GPIO_MODE_AF_OD;
  GPIO_InitStruct.Speed = GPIO_SPEED_FREQ_HIGH;
  HAL_GPIO_Init(GPIOB, &GPIO_InitStruct);

  /*Configure peripheral I/O remapping */
  __HAL_AFIO_REMAP_I2C1_ENABLE();

  /* USER CODE BEGIN MX_GPIO_Init_2 */

  // PA0, PA1, PA2 -> ADC1_IN0, IN1, IN2
  GPIO_InitStruct.Pin  = GPIO_PIN_0 | GPIO_PIN_1 | GPIO_PIN_2;
  GPIO_InitStruct.Mode = GPIO_MODE_ANALOG;
  GPIO_InitStruct.Pull = GPIO_NOPULL;
  HAL_GPIO_Init(GPIOA, &GPIO_InitStruct);

  /* USER CODE END MX_GPIO_Init_2 */
}

void Error_Handler(void)
{
  __disable_irq();
  while (1)
  {
  }
}
